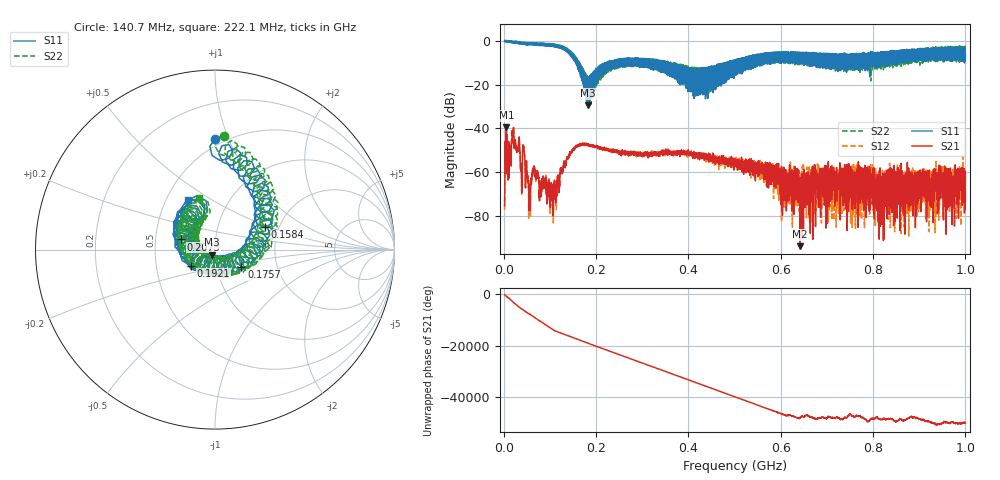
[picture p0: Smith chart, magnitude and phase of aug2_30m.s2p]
!Keysight Technologies N9923A: A.12.45
!Date: Saturday, 02 August 2025 19:19:51
!Timezone: (UTC+08:00) Kuala Lumpur, Singapore
!Model: N9923A
!Serial: MY61181427
!GPS Latitude:
!GPS Longitude:
!GPS TimeStamp: 0001-01-01 00:00:00Z
!GPS Seconds Since Last Read: 0
!CHECKSUM:1167081686
!Correction: S11(ON U)S21(ON U)S12(ON U)S22(ON U)
!S2P File: Measurements:S11,S21,S12,S22:
# Hz S DB R 50
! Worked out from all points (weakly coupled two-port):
!   4001 points, 2 MHz to 1 GHz, reference 50 ohm
!   highest |S21| = -39.55 dB at 5.742 MHz (marker M1); lowest = -93.8 dB at 642.2 MHz (marker M2)
!   lowest |S11| = -29.5 dB at 182.9 MHz (marker M3), VSWR 1.07, Z = 48.2 - j2.75 ohm
!   |S11| at or under -10 dB: 162.4 MHz to 218.6 MHz (56.15 MHz wide, 29.5 % of centre); 218.6 MHz to 221.8 MHz (3.241 MHz wide, 1.47 % of centre); 357.8 MHz to 483 MHz (125.2 MHz wide, 29.8 % of centre) (the widest 3 of 296)
!   |S22| runs from -29.8 to 0.1 dB; largest |S21 - S12| = 0.0024
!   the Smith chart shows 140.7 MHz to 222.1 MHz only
!   S11 on the Smith chart (normalised r, x): 140.7 MHz: 0.45, +0.89; 158.4 MHz: 1.70, +0.46; 175.7 MHz: 1.32, -0.26; 192.1 MHz: 0.75, -0.14; 207.3 MHz: 0.68, +0.08; 222.1 MHz: 0.64, +0.39
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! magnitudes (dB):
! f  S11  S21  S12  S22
! 2 MHz  -0.1  -75.2  -77.3  -0.1
! 5.742 MHz  -0.5  -39.5  -39.5  -0.5
! 21.71 MHz  -0.3  -40.4  -39.8  -0.6
! 55.64 MHz  -1.2  -67.7  -65.5  -1.2
! 68.62 MHz  -1.0  -60.9  -61.5  -1.0
! 104.5 MHz  -2.4  -68.9  -68.8  -2.2
! 140.7 MHz  -4.2  -52.7  -53.4  -3.9
! 158.4 MHz  -10.3  -48.6  -48.1  -10.4
! 168.4 MHz  -14.9  -47.6  -47.6  -15.4
! 175.7 MHz  -15.1  -47.2  -47.3  -14.3
! 182.9 MHz  -29.5  -47.0  -47.3  -23.7
! 192.1 MHz  -15.8  -48.0  -47.8  -15.5
! 207.3 MHz  -14.1  -48.8  -48.7  -13.2
! 222.1 MHz  -10.1  -49.5  -48.9  -10.4
! 334.8 MHz  -11.7  -51.3  -52.3  -9.4
! 417.2 MHz  -25.1  -51.6  -51.8  -15.4
! 501 MHz  -12.1  -55.2  -57.5  -13.9
! 642.2 MHz  -5.9  -93.8  -64.4  -10.6
! 667.4 MHz  -6.2  -62.0  -72.2  -10.7
! 833.8 MHz  -6.2  -63.9  -64.6  -8.2
! 992 MHz  -3.0  -62.3  -64.0  -7.0
! 1 GHz  -6.1  -73.6  -60.8  -2.8
